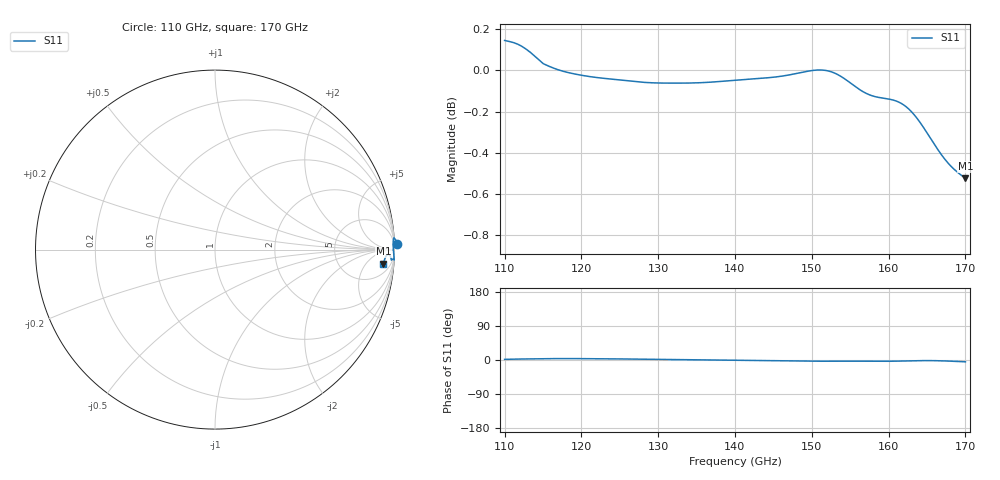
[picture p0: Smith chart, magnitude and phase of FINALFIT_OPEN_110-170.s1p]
! Generated by Phase I extraction
# Hz S RI R 50
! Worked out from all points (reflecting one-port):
!   1471 points, 110 GHz to 170 GHz, reference 50 ohm
!   lowest |S11| = -0.5 dB at 170 GHz (marker M1), VSWR 33.13, Z = 573 - j787 ohm
!   phase of S11 starts at 2 deg and turns -6 deg over the sweep
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1.1e11  1.016 0.0296
1.11551e11  1.014 0.0423
1.150204e11  1.002 0.0607
1.162449e11  0.9995 0.0641
1.175102e11  0.9975 0.0656
1.2e11  0.9953 0.0627
1.250204e11  0.9935 0.0485
1.325306e11  0.9928 0.0181
1.368571e11  0.9935 0.00404
1.4e11  0.9945 -0.00847
1.450612e11  0.9958 -0.0292
1.475102e11  0.997 -0.0415
1.495918e11  0.9983 -0.0524
1.510612e11  0.9986 -0.0569
1.529796e11  0.9969 -0.0567
1.550204e11  0.9916 -0.0535
1.573878e11  0.9851 -0.0562
1.587347e11  0.9832 -0.0588
1.596735e11  0.9826 -0.0586
1.609388e11  0.9816 -0.0535
1.625306e11  0.9782 -0.0404
1.63551e11  0.9739 -0.032
1.643673e11  0.9693 -0.0275
1.65102e11  0.9647 -0.0264
1.658367e11  0.9599 -0.0284
1.665306e11  0.9554 -0.0331
1.673061e11  0.9507 -0.041
1.7e11  0.9381 -0.0782
